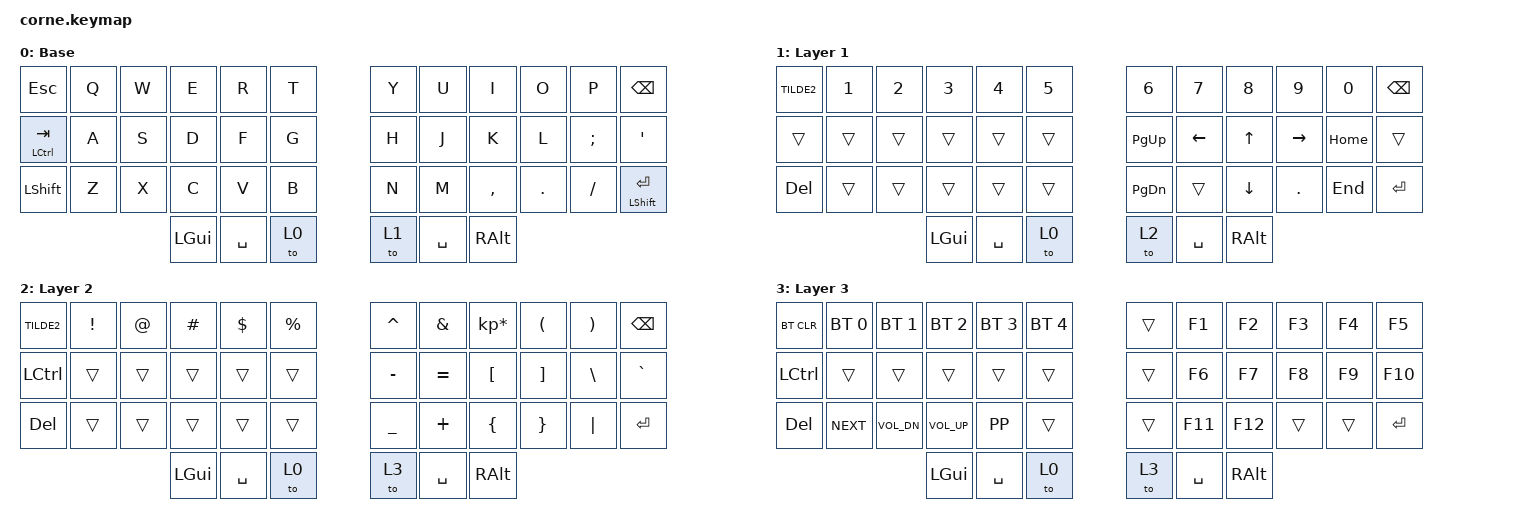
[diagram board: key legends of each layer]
/*
 * Copyright (c) 2020 The ZMK Contributors
 *
 * SPDX-License-Identifier: MIT
 */

#include <behaviors.dtsi>
#include <dt-bindings/zmk/keys.h>
#include <dt-bindings/zmk/bt.h>

#define DEFAULT 0
#define LAYER1   1
#define LAYER2   2
#define LAYER3   3
/ {
        keymap {
                compatible = "zmk,keymap";

                default_layer {
// -----------------------------------------------------------------------------------------
// | esc |  Q  |  W  |  E  |  R  |  T  |   |  Y  |  U   |  I  |  O  |  P  | BKSP |
// | ctrl/tab |  A  |  S  |  D  |  F  |  G  |   |  H  |  J   |  K  |  L  |  ;  |  '   |
// | SHFT|  Z  |  X  |  C  |  V  |  B  |   |  N  |  M   |  ,  |  .  |  /  | LST/RET|
//                    | GUI | SPC | L0 |   | L1 | SPC  | ALT |
                        display-name = "Base";
                        bindings = <
   &kp ESC   &kp Q &kp W &kp E &kp R &kp T   &kp Y &kp U  &kp I     &kp O   &kp P    &kp BSPC
   &mt LCTRL TAB &kp A &kp S &kp D &kp F &kp G   &kp H &kp J  &kp K     &kp L   &kp SEMI &kp SQT
   &kp LSHFT &kp Z &kp X &kp C &kp V &kp B   &kp N &kp M  &kp COMMA &kp DOT &kp FSLH &mt LSHFT RET
                  &kp LGUI &kp SPACE &to 0    &to 1 &kp SPACE &kp RALT
                        >;
                };
                LAYER1 {
// -----------------------------------------------------------------------------------------
// |  ~   |  1  |  2  |  3  |  4  |  5  |   |  6  |  7  |  8  |  9  |  0  | BKSP |
// |      |     |     |     |     |     |   |PgUp | Left|  UP | RGT |Home |      |
// | DEL |     |     |     |     |     |   |PgDn |     |Down |  .  |End  | RET  |
//                    | GUI | SPC | L0  |   |  L2 | SPC | ALT |
                        display-name = "Layer 1";
                        bindings = <
   &kp TILDE2    &kp N1       &kp N2       &kp N3       &kp N4       &kp N5         &kp N6   &kp N7   &kp N8 &kp N9    &kp N0 &kp BSPC
   &trans   &trans   &trans   &trans   &trans   &trans   &kp PG_UP  &kp LEFT &kp UP &kp RIGHT   &kp HOME &trans
   &kp DEL  &trans       &trans       &trans       &trans       &trans         &kp PG_DN   &trans   &kp DOWN  &kp DOT  &kp END  &kp RET
                    &kp LGUI     &kp SPACE    &to 0  &to 2  &kp SPACE  &kp RALT
                        >;
                };

                LAYER2 {
// -----------------------------------------------------------------------------------------
// |  ~   |  !  |  @  |  #  |  $  |  %  |   |  ^  |  &  |  *  |  (  |  )  | BKSP |
// | CTRL |     |     |     |     |     |   |  -  |  =  |  [  |  ]  |  \  |  `   |
// | DEL  |     |     |     |     |     |   |  _  |  +  |  {  |  }  | "|" |  RET |
//                    | GUI | SPC | L0  |   |  L3 | SPC | ALT |
                        display-name = "Layer 2";
                        bindings = <
   &kp TILDE2  &kp EXCL &kp AT &kp HASH &kp DLLR &kp PRCNT   &kp CARET &kp AMPS  &kp KP_MULTIPLY &kp LPAR &kp RPAR &kp BSPC
   &kp LCTRL &trans   &trans &trans   &trans   &trans      &kp MINUS &kp EQUAL &kp LBKT        &kp RBKT &kp BSLH &kp GRAVE
   &kp DEL &trans   &trans &trans   &trans   &trans      &kp UNDER &kp PLUS  &kp LBRC        &kp RBRC &kp PIPE &kp RET
                    &kp LGUI     &kp SPACE    &to 0  &to 3  &kp SPACE  &kp RALT
                        >;
                };

                LAYER3 {
// -----------------------------------------------------------------------------------------
// | BTCLR| BT1 | BT2 | BT3 | BT4 | BT5 |   |     |  F1 |  F2 |  F3 |  F4 | F5   |
// |  CTRL|     |     |     |     |     |   |     |  F6 |  F7 |  F8 |  F9 | F10  |
// |  DEL |     |MNext| Vol-|Vol+ |MPlay|   |     |  F11|  F12|     |     | RET  |
//                    | GUI | SPC | L0  |   |     | SPC | ALT |
                        display-name = "Layer 3";
                        bindings = <
   &bt BT_CLR &bt BT_SEL 0 &bt BT_SEL 1 &bt BT_SEL 2 &bt BT_SEL 3 &bt BT_SEL 4         &trans  &kp F1   &kp F2   &kp F3   &kp F4   &kp F5   
   &kp LCTRL   &trans   &trans   &trans   &trans   &trans         &trans  &kp F6   &kp F7   &kp F8   &kp F9   &kp F10   
   &kp DEL  &kp K_NEXT &kp C_VOL_DN   &kp C_VOL_UP &kp K_PP &trans        &trans  &kp F11   &kp F12   &trans   &trans   &kp RET   
                    &kp LGUI     &kp SPACE    &to 0  &to 3  &kp SPACE  &kp RALT
                        >;
                };
        };
};
